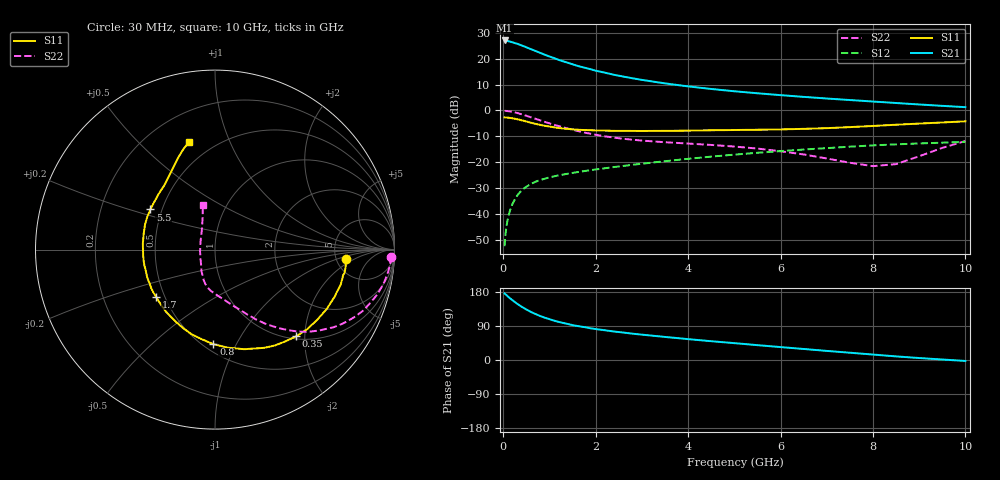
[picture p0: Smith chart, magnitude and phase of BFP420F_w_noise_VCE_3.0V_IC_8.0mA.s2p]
! Infineon Technologies  Discrete & RF Semiconductors
! BFP420F
! VCE =  3.0 V,  IC =  8.0 mA
! Common Emitter S-Parameters:  Sep 2011
# GHz  S  MA  R  50
!  f  S11  S21  S12  S22
! GHz  MAG  ANG  MAG  ANG  MAG  ANG  MAG  ANG
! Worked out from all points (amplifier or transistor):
!   54 points, 30 MHz to 10 GHz, reference 50 ohm
!   highest |S21| = 27.0 dB at 30 MHz (marker M1)
!   |S21| within 3 dB of that: start of sweep to 550.1 MHz
!   unconditionally stable (mu >= 1): 2.24 GHz to end of sweep
!   at 120 MHz: K = 0.14, MSG = 33.6 dB, |S12| = -40.4 dB
!   at 1.3 GHz: K = 0.68, MSG = 21.8 dB, |S12| = -24.7 dB
!   at 10 GHz: K = 1.31, MAG = 3.4 dB, |S12| = -12.1 dB
!   lowest NFmin = 1.08 dB at 450 MHz
!   S11 on the Smith chart (normalised r, x): 30 MHz: 6.19, -1.41; 350 MHz: 1.05, -1.81; 800 MHz: 0.56, -0.81; 1.7 GHz: 0.45, -0.29; 5.5 GHz: 0.43, +0.24; 10 GHz: 0.37, +0.72
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0.03  0.7339 -4.1  22.43 175.7  0.0024 84.2  0.9809 -2.3
0.05  0.7339 -7.0  22.21 173.0  0.0041 85.6  0.9798 -3.9
0.07  0.7324 -10.3  22.22 171.4  0.0059 83.4  0.9771 -5.6
0.1  0.7265 -14.3  22 167.8  0.0081 81.4  0.9707 -7.9
0.15  0.7171 -21.2  21.27 162.5  0.012 79.7  0.9563 -11.8
0.25  0.6909 -34.5  19.97 153.0  0.019 74.8  0.9158 -18.8
0.35  0.6618 -46.9  18.68 144.5  0.0257 69.7  0.8686 -25.2
0.45  0.6295 -58.1  17.3 136.9  0.0313 65.6  0.8172 -30.6
0.5  0.6121 -63.4  16.57 133.4  0.0337 63.9  0.7896 -33.2
0.6  0.5785 -73.6  15.22 126.8  0.0381 60.6  0.7363 -37.7
0.8  0.5268 -91.0  12.93 116.0  0.0453 56.1  0.6434 -45.1
1  0.489 -105.6  11.02 107.7  0.051 53.3  0.564 -50.9
1.2  0.4583 -118.0  9.466 100.5  0.0558 51.5  0.4997 -55.8
1.5  0.4318 -133.3  7.785 92.0  0.0623 50.1  0.4242 -61.6
1.7  0.4203 -141.5  6.892 87.9  0.0664 49.7  0.3843 -65.3
1.9  0.415 -149.0  6.209 83.4  0.0706 49.4  0.3531 -68.7
2.4  0.4031 -163.1  4.87 75.1  0.0809 48.9  0.299 -76.8
3.5  0.4034 175.2  3.328 60.9  0.1048 47.6  0.2435 -91.0
5.5  0.424 148.2  2.144 39.2  0.1522 40.7  0.1837 -109.7
7  0.4553 128.6  1.7 24.0  0.1874 33.4  0.1182 -130.7
8.5  0.5299 114.6  1.392 9.5  0.2216 24.4  0.0921 151.1
10  0.6167 103.7  1.157 -2.5  0.247 15.9  0.2567 105.3
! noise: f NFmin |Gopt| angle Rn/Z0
0.45  1.08  0.09  22  0.18
0.9  1.1  0.1  56  0.15
1.9  1.26  0.14  138  0.2
2.4  1.33  0.15  140  0.13
3.5  1.6  0.2  167  0.13
